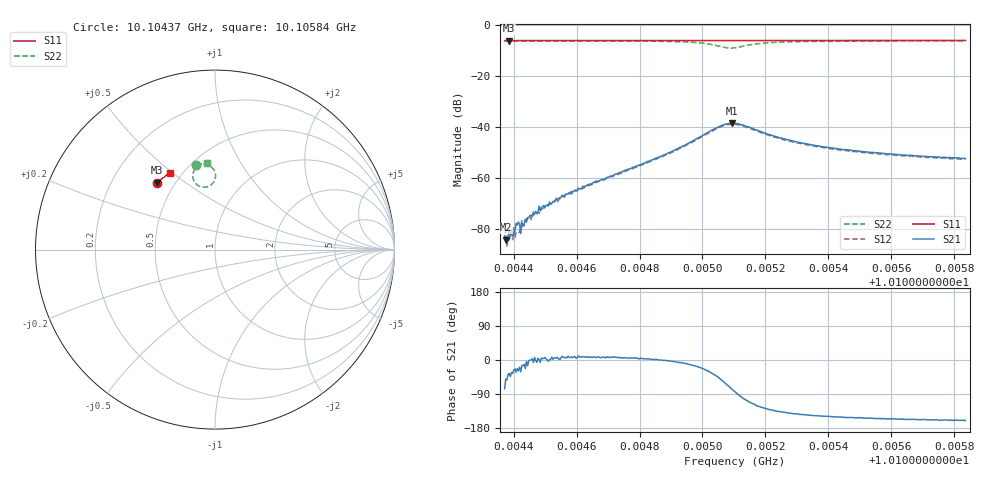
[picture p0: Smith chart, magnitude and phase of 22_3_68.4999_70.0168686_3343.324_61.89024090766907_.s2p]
#  HZ  S  RI  R  50.00
! Rohde & Schwarz Vector Network Analyzer
! Rohde-Schwarz,ZNB20-2Port,1311601062101988,3.16
! Created: UTC 3/20/2024, 4:49:34 PM
! freq[Hz]  re:S11  im:S11  re:S21  im:S21  re:S12  im:S12  re:S22  im:S22
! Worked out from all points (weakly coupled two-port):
!   401 points, 10.10437 GHz to 10.10584 GHz, reference 50 ohm
!   highest |S21| = -38.43 dB at 10.10509 GHz (marker M1); lowest = -84.1 dB at 10.10437 GHz (marker M2)
!   lowest |S11| = -6.2 dB at 10.10439 GHz (marker M3), VSWR 2.94, Z = 20.1 + j19.8 ohm
!   |S11| at or under -10 dB: nowhere
!   |S22| runs from -9.1 to -6.3 dB; largest |S21 - S12| = 0.0013
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1.0104371e10  -0.3224 0.3721  1.83e-05 -7.25e-05  3.27e-05 -7.63e-05  -0.1079 0.4726
1.0104375e10  -0.3224 0.3723  3.97e-05 -4.8e-05  5.55e-05 -7.63e-05  -0.1075 0.4727
1.0104386e10  -0.3217 0.3726  8.29e-05 -5.91e-05  4.6e-05 -4.2e-05  -0.1066 0.4729
1.0104397e10  -0.3213 0.3732  6.42e-05 -4.56e-05  5.97e-05 -1.82e-05  -0.1058 0.4731
1.0104415e10  -0.3206 0.3739  0.000122 -6.61e-05  8.8e-05 -1.66e-05  -0.1042 0.4734
1.0104426e10  -0.32 0.3745  0.000131 -3.28e-05  0.000142 -3.85e-05  -0.1032 0.4737
1.0104444e10  -0.3192 0.3751  0.000164 -4.36e-05  0.00016 -1.43e-05  -0.1017 0.474
1.0104462e10  -0.3183 0.3757  0.000216 -2.55e-05  0.000186 7.56e-06  -0.1002 0.4741
1.0104488e10  -0.3172 0.377  0.000267 2.47e-05  0.000245 1.86e-05  -0.0979 0.4748
1.0104506e10  -0.3162 0.3777  0.000299 -5.1e-07  0.000286 2.86e-05  -0.0962 0.475
1.0104561e10  -0.3138 0.38  0.000462 6.16e-05  0.000418 8.34e-05  -0.0911 0.4759
1.0104616e10  -0.3113 0.3823  0.000632 7.85e-05  0.000602 0.000113  -0.0854 0.4768
1.0104862e10  -0.2999 0.3921  0.00261 -1.03e-05  0.00246 0.000228  -0.0484 0.4752
1.0104946e10  -0.2958 0.3952  0.00444 -0.000709  0.00433 -0.000317  -0.0238 0.4639
1.010503e10  -0.2914 0.3981  0.00717 -0.00499  0.0073 -0.0041  0.00311 0.4113
1.0105067e10  -0.2897 0.3992  0.00602 -0.00929  0.00664 -0.00835  -0.0161 0.3654
1.0105093e10  -0.2887 0.3999  0.00298 -0.0116  0.00377 -0.0107  -0.0552 0.3477
1.0105104e10  -0.2884 0.4004  0.00128 -0.0118  0.00216 -0.0111  -0.0736 0.3488
1.0105199e10  -0.2844 0.4042  -0.00464 -0.00603  -0.00393 -0.00617  -0.122 0.4262
1.0105349e10  -0.2771 0.4099  -0.00372 -0.00248  -0.00332 -0.00272  -0.0943 0.4658
1.0105594e10  -0.2648 0.4187  -0.00272 -0.00123  -0.0025 -0.00144  -0.0647 0.4793
1.0105836e10  -0.2526 0.4269  -0.00228 -0.000826  -0.00213 -0.00101  -0.0436 0.4841
